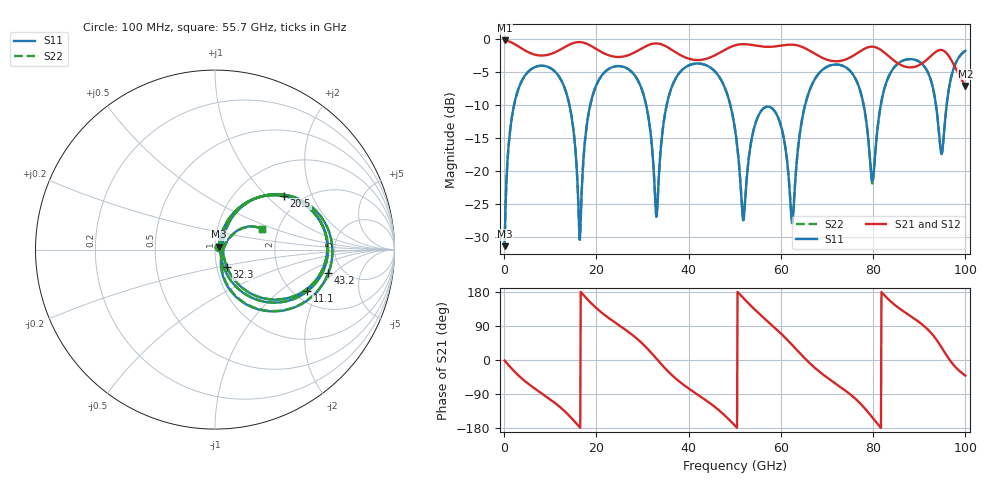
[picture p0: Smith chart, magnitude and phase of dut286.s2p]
! Touchstone file exported from HFSS 2026.1.0
!  File:  C:/ffzhzh/LocalFiles/Ansys_Project_Files/temp_train_TSV_RDL_286_1783680006_26216.aedt
!  Generated:  06:49:11 PM Jul 10, 2026
!  Design:  TSV_RDL
!  Project:  temp_train_TSV_RDL_286_1783680006_26216
! Variables:
!  h_bsmrdl = 4.89um
!  h_ox = 20um
!  h_rdl = 5um
!  h_sub = 63.38um
!  h_tmrdl = 3.15um
!  h_tsv = 63.38um
!  h_via = 3um
!  l_bsmrdl = 687.74um
!  l_sub = 3748.42um
!  l_tmrdl = 299.91um
!  m_sub = 200um
!  pitch = 50.51um
!  r_tsv = 9.2um
!  s_tmrdl = 10um
!  w_bsmrdl = 13.63um
!  w_sub = 500um
!  w_tmrdl = 14.89um
!  x_tsv_center1 = 307.355um
!  x_tsv_center2 = 1008.725um
!  x_tsv_center3 = 1323.525um
!  x_tsv_center4 = 2024.895um
!  x_tsv_center5 = 2339.695um
!  x_tsv_center6 = 3041.065um
# GHz S MA R 50.000000
! Terminal data exported
! Port[1] = TM_RDL1_1_T1
! Port[2] = TM_RDL5_1_T1
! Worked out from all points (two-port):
!   1000 points, 100 MHz to 100 GHz, reference 50 ohm
!   highest |S21| = -0.19 dB at 100 MHz (marker M1); lowest = -7.1 dB at 100 GHz (marker M2)
!   |S21| within 3 dB of the highest: start of sweep to 70.36 GHz; 73.54 GHz to 84.42 GHz (10.88 GHz wide, 13.8 % of centre) (the widest 2 of 3)
!   lowest |S11| = -31.4 dB at 100 MHz (marker M3), VSWR 1.06, Z = 52.2 + j1.7 ohm
!   |S11| at or under -10 dB: 14.16 GHz to 18.66 GHz (4.508 GHz wide, 27.5 % of centre); 30.79 GHz to 35.23 GHz (4.442 GHz wide, 13.5 % of centre); 49.04 GHz to 65.25 GHz (16.21 GHz wide, 28.4 % of centre) (the widest 3 of 6)
!   |S22| runs from -31.4 to -1.7 dB; largest |S21 - S12| = 3.8e-13
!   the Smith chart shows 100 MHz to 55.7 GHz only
!   S11 on the Smith chart (normalised r, x): 100 MHz: 1.04, +0.03; 11.1 GHz: 2.35, -1.60; 20.5 GHz: 1.63, +1.28; 32.3 GHz: 1.12, -0.22; 43.2 GHz: 3.83, -1.71; 55.7 GHz: 1.64, +0.41
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0.1  0.02687 37.3  0.9789 -1.5  0.9789 -1.5  0.02687 37.3
! Gamma 0 0 0 0
! Port Impedance 50 0 50 0
3  0.4106 46.8  0.8858 -39.6  0.8858 -39.6  0.4106 46.8
11.1  0.5646 -24.3  0.7976 -114.1  0.7976 -114.1  0.5646 -24.3
16.8  0.06793 58.9  0.9486 176.9  0.9486 176.9  0.06766 59.3
20.5  0.4882 37.9  0.8219 131.5  0.8219 131.5  0.4881 38.0
28.6  0.5142 -30.0  0.8052 58.2  0.8052 58.2  0.5142 -29.9
32.3  0.1179 -55.9  0.9256 13.4  0.9256 13.4  0.1179 -55.6
33.4  0.07305 49.4  0.9269 -1.9  0.9269 -1.9  0.07322 49.4
36.3  0.4301 45.4  0.8333 -39.1  0.8333 -39.1  0.4302 45.5
43.2  0.6452 -11.7  0.702 -101.7  0.702 -101.7  0.6452 -11.5
50.1  0.2022 -71.9  0.8996 -173.9  0.8996 -173.9  0.2027 -71.0
51.9  0.04224 -8.6  0.9181 163.0  0.9181 163.0  0.04504 -8.9
55.7  0.2847 23.7  0.8822 117.7  0.8822 117.7  0.285 23.5
59.8  0.2326 -13.3  0.8921 72.3  0.8921 72.3  0.2329 -13.2
62.5  0.04008 42.6  0.9092 38.9  0.9092 38.9  0.04182 42.3
66.7  0.4494 71.0  0.8 -13.5  0.8 -13.5  0.4497 70.7
77  0.4268 -14.6  0.8024 -112.1  0.8024 -112.1  0.4265 -15.0
79.9  0.08451 33.3  0.8778 -152.7  0.8778 -152.7  0.08081 33.5
83.4  0.5238 61.9  0.7417 159.1  0.7417 159.1  0.5234 62.2
92.9  0.4365 -11.2  0.7669 66.7  0.7669 66.7  0.4369 -11.0
94.9  0.1352 36.4  0.8283 31.9  0.8283 31.9  0.1366 36.4
100  0.8181 42.9  0.4416 -41.0  0.4416 -41.0  0.8181 42.9
